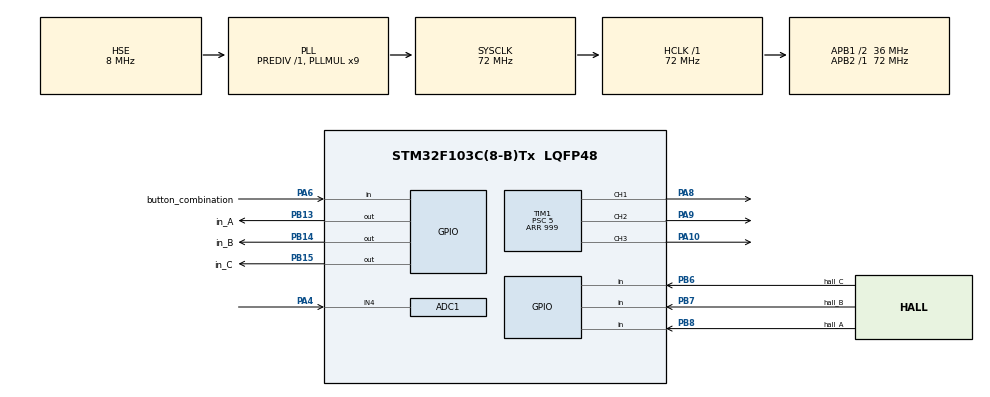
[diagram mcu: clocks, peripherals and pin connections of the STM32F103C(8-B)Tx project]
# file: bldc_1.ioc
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ADC1.Channel-0\#ChannelRegularConversion=ADC_CHANNEL_4
ADC1.ContinuousConvMode=ENABLE
ADC1.NbrOfConversion=1
ADC1.NbrOfConversionFlag=1
ADC1.Rank-0\#ChannelRegularConversion=1
ADC1.SamplingTime-0\#ChannelRegularConversion=ADC_SAMPLETIME_28CYCLES_5
ADC1.master=1
Mcu.Family=STM32F1
Mcu.Name=STM32F103C(8-B)Tx
Mcu.Package=LQFP48
NVIC.PriorityGroup=NVIC_PRIORITYGROUP_4
NVIC.TIM2_IRQn=true\:0\:0\:false\:false\:true\:true\:true\:true
PA10.Signal=S_TIM1_CH3
PA13.Mode=Serial_Wire
PA13.Signal=SYS_JTMS-SWDIO
PA14.Mode=Serial_Wire
PA14.Signal=SYS_JTCK-SWCLK
PA4.Signal=ADCx_IN4
PA6.GPIO_Label=button_combination
PA6.GPIO_PuPd=GPIO_NOPULL
PA6.Signal=GPIO_Input
PA8.Signal=S_TIM1_CH1
PA9.Signal=S_TIM1_CH2
PB13.GPIO_Label=in_A
PB13.GPIO_Speed=GPIO_SPEED_FREQ_MEDIUM
PB13.Signal=GPIO_Output
PB14.GPIO_Label=in_B
PB14.GPIO_Speed=GPIO_SPEED_FREQ_MEDIUM
PB14.Signal=GPIO_Output
PB15.GPIO_Label=in_C
PB15.GPIO_Speed=GPIO_SPEED_FREQ_MEDIUM
PB15.Signal=GPIO_Output
PB6.GPIO_Label=hall_C
PB6.Signal=GPIO_Input
PB7.GPIO_Label=hall_B
PB7.Signal=GPIO_Input
PB8.GPIO_Label=hall_A
PB8.Signal=GPIO_Input
PD0-OSC_IN.Mode=HSE-External-Oscillator
PD0-OSC_IN.Signal=RCC_OSC_IN
PD1-OSC_OUT.Mode=HSE-External-Oscillator
PD1-OSC_OUT.Signal=RCC_OSC_OUT
ProjectManager.HeapSize=0x200
ProjectManager.StackSize=0x400
ProjectManager.TargetToolchain=CMake
RCC.ADCPresc=RCC_ADCPCLK2_DIV6
RCC.AHBFreq_Value=72000000
RCC.APB1CLKDivider=RCC_HCLK_DIV2
RCC.APB1Freq_Value=36000000
RCC.APB1TimFreq_Value=72000000
RCC.APB2Freq_Value=72000000
RCC.APB2TimFreq_Value=72000000
RCC.HCLKFreq_Value=72000000
RCC.PLLMUL=RCC_PLL_MUL9
RCC.PLLSourceVirtual=RCC_PLLSOURCE_HSE
RCC.SYSCLKFreq_VALUE=72000000
RCC.SYSCLKSource=RCC_SYSCLKSOURCE_PLLCLK
RCC.USBFreq_Value=72000000
SH.ADCx_IN4.0=ADC1_IN4,IN4
SH.S_TIM1_CH1.0=TIM1_CH1,PWM Generation1 CH1
SH.S_TIM1_CH2.0=TIM1_CH2,PWM Generation2 CH2
SH.S_TIM1_CH3.0=TIM1_CH3,PWM Generation3 CH3
TIM1.Channel-PWM\ Generation1\ CH1=TIM_CHANNEL_1
TIM1.Channel-PWM\ Generation2\ CH2=TIM_CHANNEL_2
TIM1.Channel-PWM\ Generation3\ CH3=TIM_CHANNEL_3
TIM1.Period=999
TIM1.Prescaler=5
TIM2.Period=9
TIM2.Prescaler=719
VP_TIM1_VS_ClockSourceINT.Mode=Internal
VP_TIM2_VS_ClockSourceINT.Mode=Internal
board=custom

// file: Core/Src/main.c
/* USER CODE BEGIN Header */
/**
  ******************************************************************************
  * @file           : main.c
  * @brief          : Main program body
  ******************************************************************************
  * @attention
  *
  * Copyright (c) 2025 STMicroelectronics.
  * All rights reserved.
  *
  * This software is licensed under terms that can be found in the LICENSE file
  * in the root directory of this software component.
  * If no LICENSE file comes with this software, it is provided AS-IS.
  *
  ******************************************************************************
  */
/* USER CODE END Header */
#include "main.h"
#include "adc.h"
#include "tim.h"
#include "gpio.h"

/* USER CODE BEGIN Includes */
#include "bldc.h"
#include "FlashPROM.h"
/* USER CODE END Includes */

/* USER CODE BEGIN PV */
// flash as eeprom
uint32_t res_addr = 0;
myBuf_t flash_buf[BUFFSIZE] = {0,};

// adc
uint16_t adc = 0;

// button
uint8_t short_state = 0;
uint8_t long_state = 0;
uint32_t time_key1 = 0;
/* USER CODE END PV */

void SystemClock_Config(void);

/* USER CODE BEGIN 0 */
typedef uint16_t filter_data_t;
typedef uint32_t filter_data_size_t;

/**
 * @brief init as `{0}`
 */
typedef struct {
    filter_data_t buf[3];
    filter_data_size_t indx;
} filter_median3_t;

/**
 * @brief Median filter. Select average from stored 2 values and new one
 * @param data init as `{0}`
 */
filter_data_t filter_median3 (filter_median3_t* data, filter_data_t new_data){
    data->buf[data->indx] = new_data;
    if (++data->indx >= 3) data->indx = 0;
    filter_data_t a = data->buf[0], b = data->buf[1], c = data->buf[2];
    return (a < b) ? ((b < c) ? b : ((c < a) ? a : c)) : ((a < c) ? a : ((c < b) ? b : c));
}

// true if empty
uint8_t check_empty_buf (myBuf_t buf[BUFFSIZE]){
  for (uint32_t i = 0; i < BUFFSIZE; i++){
    if (buf[i] != 0)
      return 0;
  }
  return 1;
}

void set_halls_pos (myBuf_t buf[BUFFSIZE]){
  hall_pos_t* pos = BLDC_get_ptr_pos();
  pos->a = buf[0];
  pos->b = buf[1];
  pos->c = buf[2];
}

void save_halls_pos (myBuf_t buf[BUFFSIZE]){
  hall_pos_t* pos = BLDC_get_ptr_pos();
  buf[0] = pos->a;
  buf[1] = pos->b;
  buf[2] = pos->c;
}

/* USER CODE END 0 */

int main(void)
{

  /* MCU Configuration--------------------------------------------------------*/

  /* Reset of all peripherals, Initializes the Flash interface and the Systick. */
  HAL_Init();

  /* Configure the system clock */
  SystemClock_Config();

  /* Initialize all configured peripherals */
  MX_GPIO_Init();
  MX_TIM1_Init();
  MX_TIM2_Init();
  MX_ADC1_Init();
  /* USER CODE BEGIN 2 */
  // ----- RUN ONCE -----
  erase_flash();
  while (1){}
  // ----- END ONCE ------

  // search and read last data
  res_addr = flash_search_adress(STARTADDR, BUFFSIZE * DATAWIDTH);
  read_last_data_in_flash(flash_buf);
  if ( ! check_empty_buf(flash_buf)){
    set_halls_pos(flash_buf);
  }

  BLDC_init();

  HAL_ADCEx_Calibration_Start(&hadc1);
  HAL_ADC_Start(&hadc1);

  filter_median3_t filter = {0};

  /* USER CODE END 2 */

  /* Infinite loop */
  while (1)
  {

    /* USER CODE BEGIN 3 */
    adc = filter_median3(&filter, (uint16_t) HAL_ADC_GetValue(&hadc1));

    uint16_t speed = map(adc, 0, 4096, 0, BLDC_get_max_speed());
    BLDC_set_speed(speed);

    // button
    uint32_t ms = HAL_GetTick();
    uint8_t key1_state = HAL_GPIO_ReadPin(button_combination_GPIO_Port, button_combination_Pin); // подставить свой пин

    if(key1_state == 0 && !short_state && (ms - time_key1) > 50)
    {
      short_state = 1;
      long_state = 0;
      time_key1 = ms;
    }
    else if(key1_state == 0 && !long_state && (ms - time_key1) > 2000)
    {
      long_state = 1;
      // действие на длинное нажатие
      save_halls_pos(flash_buf);
      write_to_flash(flash_buf);
    }
    else if(key1_state == 1 && short_state && (ms - time_key1) > 50)
    {
      short_state = 0;
      time_key1 = ms;

      if(!long_state)
      {
        // действие на короткое нажатие
        BLDC_next_hall_pos_combination();
      }
    }
    HAL_Delay(5);
  }
  /* USER CODE END 3 */
}

void SystemClock_Config(void)
{
  RCC_OscInitTypeDef RCC_OscInitStruct = {0};
  RCC_ClkInitTypeDef RCC_ClkInitStruct = {0};
  RCC_PeriphCLKInitTypeDef PeriphClkInit = {0};

  /** Initializes the RCC Oscillators according to the specified parameters
  * in the RCC_OscInitTypeDef structure.
  */
  RCC_OscInitStruct.OscillatorType = RCC_OSCILLATORTYPE_HSE;
  RCC_OscInitStruct.HSEState = RCC_HSE_ON;
  RCC_OscInitStruct.HSEPredivValue = RCC_HSE_PREDIV_DIV1;
  RCC_OscInitStruct.HSIState = RCC_HSI_ON;
  RCC_OscInitStruct.PLL.PLLState = RCC_PLL_ON;
  RCC_OscInitStruct.PLL.PLLSource = RCC_PLLSOURCE_HSE;
  RCC_OscInitStruct.PLL.PLLMUL = RCC_PLL_MUL9;
  if (HAL_RCC_OscConfig(&RCC_OscInitStruct) != HAL_OK)
  {
    Error_Handler();
  }

  /** Initializes the CPU, AHB and APB buses clocks
  */
  RCC_ClkInitStruct.ClockType = RCC_CLOCKTYPE_HCLK|RCC_CLOCKTYPE_SYSCLK
                              |RCC_CLOCKTYPE_PCLK1|RCC_CLOCKTYPE_PCLK2;
  RCC_ClkInitStruct.SYSCLKSource = RCC_SYSCLKSOURCE_PLLCLK;
  RCC_ClkInitStruct.AHBCLKDivider = RCC_SYSCLK_DIV1;
  RCC_ClkInitStruct.APB1CLKDivider = RCC_HCLK_DIV2;
  RCC_ClkInitStruct.APB2CLKDivider = RCC_HCLK_DIV1;

  if (HAL_RCC_ClockConfig(&RCC_ClkInitStruct, FLASH_LATENCY_2) != HAL_OK)
  {
    Error_Handler();
  }
  PeriphClkInit.PeriphClockSelection = RCC_PERIPHCLK_ADC;
  PeriphClkInit.AdcClockSelection = RCC_ADCPCLK2_DIV6;
  if (HAL_RCCEx_PeriphCLKConfig(&PeriphClkInit) != HAL_OK)
  {
    Error_Handler();
  }
}

void Error_Handler(void)
{
  __disable_irq();
  while (1)
  {
  }
}
